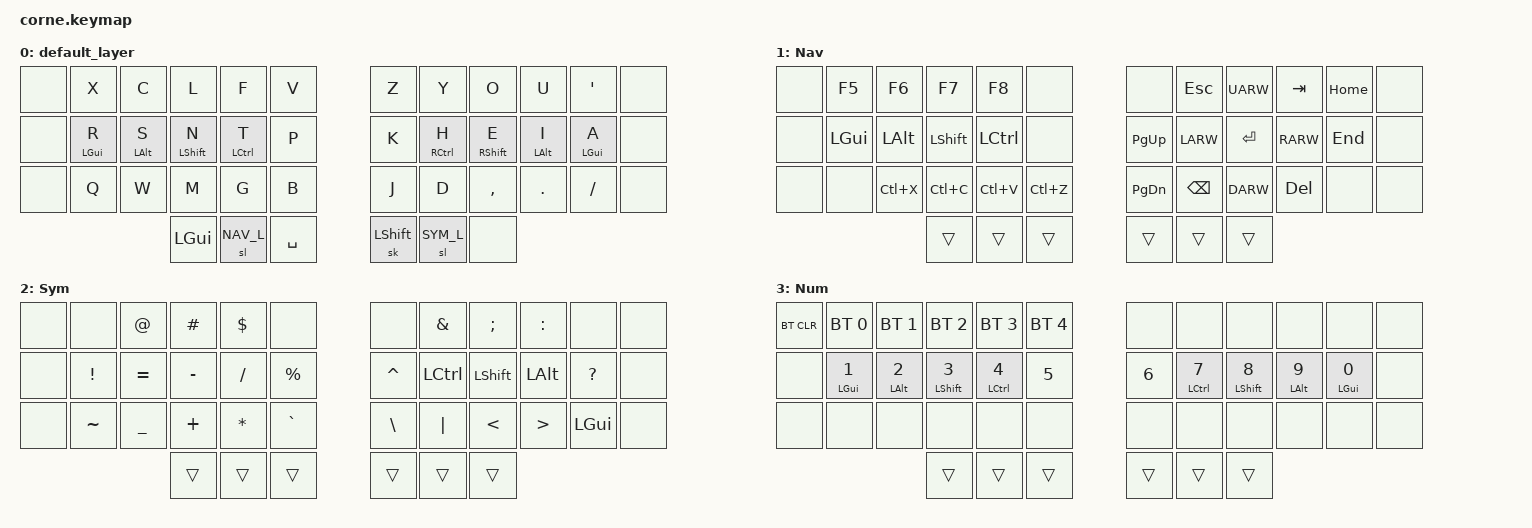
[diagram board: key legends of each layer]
/*
 * Copyright (c) 2020 The ZMK Contributors
 *
 * SPDX-License-Identifier: MIT
 */

#include <behaviors.dtsi>
#include <dt-bindings/zmk/keys.h>
#include <dt-bindings/zmk/bt.h>

/* Layers */
#define DEF_L 0
#define NAV_L 1
#define SYM_L 2
#define NUM_L 3

/* Shortcuts */
#define CUT LC(X)
#define COPY LC(C)
#define PASTE LC(V)
#define UNDO LC(Z)
#define SLALL LC(A)

/* Key position groups */
#define KEYS_L 0 1 2 3 4 5 12 13 14 15 16 17 24 25 26 27 28 29
#define KEYS_R 6 7 8 9 10 11 18 19 20 21 22 23 30 31 32 33 34 35
#define THUMBS 36 37 38 39 40 41

/* Behavior Settings */
&sk {
  release-after-ms = <250>;
  quick-release;
};

&sl {
  release-after-ms = <250>;
};

/ {
    behaviors {
        mtl: mod_tap_left {
            compatible = "zmk,behavior-hold-tap";
            label = "MOD_TAP_LEFT";
            #binding-cells = <2>;
            flavor = "balanced";
            tapping-term-ms = <280>;
            quick-tap-ms = <175>;
            bindings = <&kp>, <&kp>;
            hold-trigger-key-positions = <KEYS_R THUMBS>;
            hold-trigger-on-release;
            global-quick-tap;
        };
        mtr: mod_tap_right {
            compatible = "zmk,behavior-hold-tap";
            label = "MOD_TAP_RIGHT";
            #binding-cells = <2>;
            flavor = "balanced";
            tapping-term-ms = <280>;
            quick-tap-ms = <175>;
            bindings = <&kp>, <&kp>;
            hold-trigger-key-positions = <KEYS_L THUMBS>;
            hold-trigger-on-release;
            global-quick-tap;
        };
    };
    conditional_layers {
        compatible = "zmk,conditional-layers";
        tri_layer {
            if-layers = <NAV_L SYM_L>;
            then-layer = <NUM_L>;
        };
    };
    combos {
        compatible = "zmk,combos";

        /* Letters */
        v { key-positions = <2 3>; bindings = <&kp V>; layers = <DEF_L>; };
        q { key-positions = <3 4>; bindings = <&kp Q>; layers = <DEF_L>; };
        z { key-positions = <26 27>; bindings = <&kp Z>; layers = <DEF_L>; };

        /* Brackets */
        lbkt { key-positions = <2 14>; bindings = <&kp LBKT>; layers = <DEF_L SYM_L NUM_L>; };
        rbkt { key-positions = <9 21>; bindings = <&kp RBKT>; layers = <DEF_L SYM_L NUM_L>; };
        lbrc { key-positions = <3 15>; bindings = <&kp LBRC>; layers = <DEF_L SYM_L NUM_L>; };
        rbrc { key-positions = <8 20>; bindings = <&kp RBRC>; layers = <DEF_L SYM_L NUM_L>; };
        lpar { key-positions = <4 16>; bindings = <&kp LPAR>; layers = <DEF_L SYM_L NUM_L>; };
        rpar { key-positions = <7 19>; bindings = <&kp RPAR>; layers = <DEF_L SYM_L NUM_L>; };

        /* Convenience */
        del { key-positions = <5 17>; bindings = <&kp DEL>; };
        esc { key-positions = <6 18>; bindings = <&kp ESC>; };
        slall { key-positions = <26 27>; bindings = <&kp SLALL>; layers = <NAV_L>; };
        bspc { key-positions = <8 9>; bindings = <&kp BSPC>; };
        enter { key-positions = <19 20 21>; bindings = <&kp ENTER>; };
        tab { key-positions = <14 15 16>; bindings = <&kp TAB>; };

    };
/* 0   1   2   3   4   5      6   7   8   9  10  11
  12  13  14  15  16  17     18  19  20  21  22  23
  24  25  26  27  28  29     30  31  32  33  34  35
              36  37  38     39  40  41
*/
    keymap {
        compatible = "zmk,keymap";

        default_layer {
/*
   ╭───────────────────────────────────╮   ╭───────────────────────────────────╮
   |     |  X  |  C  |  L  |  F  |  V  |   |  Z  |  Y  |  O  |  U  |  '  |     |
   |     |  R  |  S  |  N  |  T  |  P  |   |  K  |  H  |  E  |  I  |  A  |     |
   |     |  Q  |  W  |  M  |  G  |  B  |   |  J  |  D  |  ,  |  .  |  /  |     |
   ╰─────────────────╮ GUI | NAV | SPC |   |SHIFT| SYM | ENT ╭─────────────────╯
                     ╰─────────────────╯   ╰─────────────────╯    
*/

            bindings = <
//╭─────────────┬─────────────┬─────────────┬─────────────┬─────────────┬─────────────╮ ╭─────────────┬─────────────┬─────────────┬─────────────┬─────────────┬─────────────╮
    &none         &kp X         &kp C         &kp L         &kp F        &kp V           &kp Z          &kp Y         &kp O         &kp U         &kp QUOT      &none
//├─────────────┼─────────────┼─────────────┼─────────────┼─────────────┼─────────────┤ ├─────────────┼─────────────┼─────────────┼─────────────┼─────────────┼─────────────┤
    &none         &mtl LGUI R   &mtl LALT S   &mtl LSHFT N  &mtl LCTRL T  &kp P           &kp K         &mtr RCTRL H  &mtr RSHFT E  &mtr LALT I   &mtr LGUI A   &none
//├─────────────┼─────────────┼─────────────┼─────────────┼─────────────┼─────────────┤ ├─────────────┼─────────────┼─────────────┼─────────────┼─────────────┼─────────────┤
    &none         &kp Q         &kp W         &kp M         &kp G         &kp B           &kp J         &kp D         &kp COMMA     &kp DOT       &kp FSLH      &none
//╰─────────────┴─────────────┴─────────────┼─────────────┼─────────────┼─────────────┤ ├─────────────┼─────────────┼─────────────┼─────────────┴─────────────┴─────────────╯
                                              &kp LGUI      &sl NAV_L     &kp SPACE       &sk LSHFT     &sl SYM_L     &none
//                                          ╰─────────────┴─────────────┴─────────────╯ ╰─────────────┴─────────────┴─────────────╯
            >;
        };

        nav_layer {
/*
   ╭───────────────────────────────────╮   ╭───────────────────────────────────╮
   |     | F5  | F6  | F7  | F8  |     |   |     |ESC  |UP   |TAB  |HOME |     |
   |     |LGUI |LALT |LSHFT|LCTRL|     |   |PG_UP|LEFT |ENTR |RIGHT|END  |     |
   |     |     |CUT  |COPY |PASTE|UNDO |   |PG_DN|BSPC |DOWN |DEL  |     |     |
   ╰─────────────────╮     |     |     |   |     |     |     ╭─────────────────╯
                     ╰─────────────────╯   ╰─────────────────╯    
*/
	    label = "Nav";
            bindings = <
//╭─────────────┬─────────────┬─────────────┬─────────────┬─────────────┬─────────────╮ ╭─────────────┬─────────────┬─────────────┬─────────────┬─────────────┬─────────────╮
    &none         &kp F5        &kp F6        &kp F7        &kp F8        &none           &none         &kp ESC       &kp UARW      &kp TAB       &kp HOME      &none
//├─────────────┼─────────────┼─────────────┼─────────────┼─────────────┼─────────────┤ ├─────────────┼─────────────┼─────────────┼─────────────┼─────────────┼─────────────┤
    &none         &kp LGUI      &kp LALT      &kp LSHFT     &kp LCTL      &none           &kp PG_UP     &kp LARW      &kp ENTER     &kp RARW      &kp END       &none
//├─────────────┼─────────────┼─────────────┼─────────────┼─────────────┼─────────────┤ ├─────────────┼─────────────┼─────────────┼─────────────┼─────────────┼─────────────┤
    &none         &none         &kp CUT       &kp COPY      &kp PASTE     &kp UNDO        &kp PG_DN    &kp BSPC      &kp DARW      &kp DEL       &none         &none
//╰─────────────┴─────────────┴─────────────┼─────────────┼─────────────┼─────────────┤ ├─────────────┼─────────────┼─────────────┼─────────────┴─────────────┴─────────────╯
                                              &trans        &trans        &trans          &trans        &trans        &trans
//                                          ╰─────────────┴─────────────┴─────────────╯ ╰─────────────┴─────────────┴─────────────╯
            >;
        };

        sym_layer {
/*
   ╭───────────────────────────────────╮   ╭───────────────────────────────────╮
   |     |     | @   | #   | $   |     |   |     | &   | ;   | :   |     |     |
   |     | !   | =   | -   | /   | %   |   | ^   |ctrl |shift|alt  | ?   |     |
   |     | ~   | _   | +   | *   | `   |   | \   | |   | <   | >   | gui |     |
   ╰─────────────────╮     |     |     |   |     |     |     ╭─────────────────╯
                     ╰─────────────────╯   ╰─────────────────╯    
*/
            label = "Sym";
            bindings = <
//╭─────────────┬─────────────┬─────────────┬─────────────┬─────────────┬─────────────╮ ╭─────────────┬─────────────┬─────────────┬─────────────┬─────────────┬─────────────╮
    &none         &none         &kp AT        &kp HASH      &kp DLLR      &none           &none         &kp AMPS      &kp SEMI      &kp COLON     &none         &none
//├─────────────┼─────────────┼─────────────┼─────────────┼─────────────┼─────────────┤ ├─────────────┼─────────────┼─────────────┼─────────────┼─────────────┼─────────────┤
    &none         &kp EXCL      &kp EQUAL     &kp MINUS     &kp FSLH      &kp PRCNT       &kp CARET     &kp LCTRL     &kp LSHFT     &kp LALT      &kp QMARK     &none
//├─────────────┼─────────────┼─────────────┼─────────────┼─────────────┼─────────────┤ ├─────────────┼─────────────┼─────────────┼─────────────┼─────────────┼─────────────┤
    &none         &kp TILDE     &kp UNDER     &kp PLUS      &kp ASTRK     &kp GRAVE       &kp BSLH      &kp PIPE      &kp LT        &kp GT        &kp LGUI      &none
//╰─────────────┴─────────────┴─────────────┼─────────────┼─────────────┼─────────────┤ ├─────────────┼─────────────┼─────────────┼─────────────┴─────────────┴─────────────╯
                                              &trans        &trans        &trans          &trans        &trans        &trans
//                                          ╰─────────────┴─────────────┴─────────────╯ ╰─────────────┴─────────────┴─────────────╯
            >;
        };

        num {
/*
   ╭───────────────────────────────────╮   ╭───────────────────────────────────╮
   |BTC  | BT0 | BT1 | BT2 | BT3 | BT4 |   |     |     |     |     |     |     |
   |     | 1   | 2   | 3   | 4   | 5   |   | 6   | 7   | 8   | 9   | 0   |     |
   |     |     |     |     |     |     |   |     |     |     |     |     |     |
   ╰─────────────────╮     |     |     |   |     |     |     ╭─────────────────╯
                     ╰─────────────────╯   ╰─────────────────╯    
*/
            label = "Num";
            bindings = <
//╭─────────────┬─────────────┬─────────────┬─────────────┬─────────────┬─────────────╮ ╭─────────────┬─────────────┬─────────────┬─────────────┬─────────────┬─────────────╮
    &bt BT_CLR    &bt BT_SEL 0  &bt BT_SEL 1  &bt BT_SEL 2  &bt BT_SEL 3  &bt BT_SEL 4    &none         &none         &none         &none         &none         &none
//├─────────────┼─────────────┼─────────────┼─────────────┼─────────────┼─────────────┤ ├─────────────┼─────────────┼─────────────┼─────────────┼─────────────┼─────────────┤
    &none         &mtl LGUI N1  &mtl LALT N2  &mtl LSHFT N3 &mtl LCTRL N4 &kp N5          &kp N6        &mtr LCTRL N7 &mtr LSHFT N8 &mtr LALT N9  &mtr LGUI N0  &none
//├─────────────┼─────────────┼─────────────┼─────────────┼─────────────┼─────────────┤ ├─────────────┼─────────────┼─────────────┼─────────────┼─────────────┼─────────────┤
    &none         &none         &none         &none         &none         &none           &none         &none         &none         &none         &none         &none
//╰─────────────┴─────────────┴─────────────┼─────────────┼─────────────┼─────────────┤ ├─────────────┼─────────────┼─────────────┼─────────────┴─────────────┴─────────────╯
                                              &trans        &trans        &trans          &trans        &trans        &trans
//                                          ╰─────────────┴─────────────┴─────────────╯ ╰─────────────┴─────────────┴─────────────╯
            >;
        };
    };
};
/*
   ╭───────────────────────────────────╮   ╭───────────────────────────────────╮
   |     |     |     |     |     |     |   |     |     |     |     |     |     |
   |     |     |     |     |     |     |   |     |     |     |     |     |     |
   |     |     |     |     |     |     |   |     |     |     |     |     |     |
   ╰─────────────────╮     |     |     |   |     |     |     ╭─────────────────╯
                     ╰─────────────────╯   ╰─────────────────╯    
*/
//╭─────────────┬─────────────┬─────────────┬─────────────┬─────────────┬─────────────╮ ╭─────────────┬─────────────┬─────────────┬─────────────┬─────────────┬─────────────╮
//├─────────────┼─────────────┼─────────────┼─────────────┼─────────────┼─────────────┤ ├─────────────┼─────────────┼─────────────┼─────────────┼─────────────┼─────────────┤
//├─────────────┼─────────────┼─────────────┼─────────────┼─────────────┼─────────────┤ ├─────────────┼─────────────┼─────────────┼─────────────┼─────────────┼─────────────┤
//╰─────────────┴─────────────┴─────────────┼─────────────┼─────────────┼─────────────┤ ├─────────────┼─────────────┼─────────────┼─────────────┴─────────────┴─────────────╯
//                                          ╰─────────────┴─────────────┴─────────────╯ ╰─────────────┴─────────────┴─────────────╯
